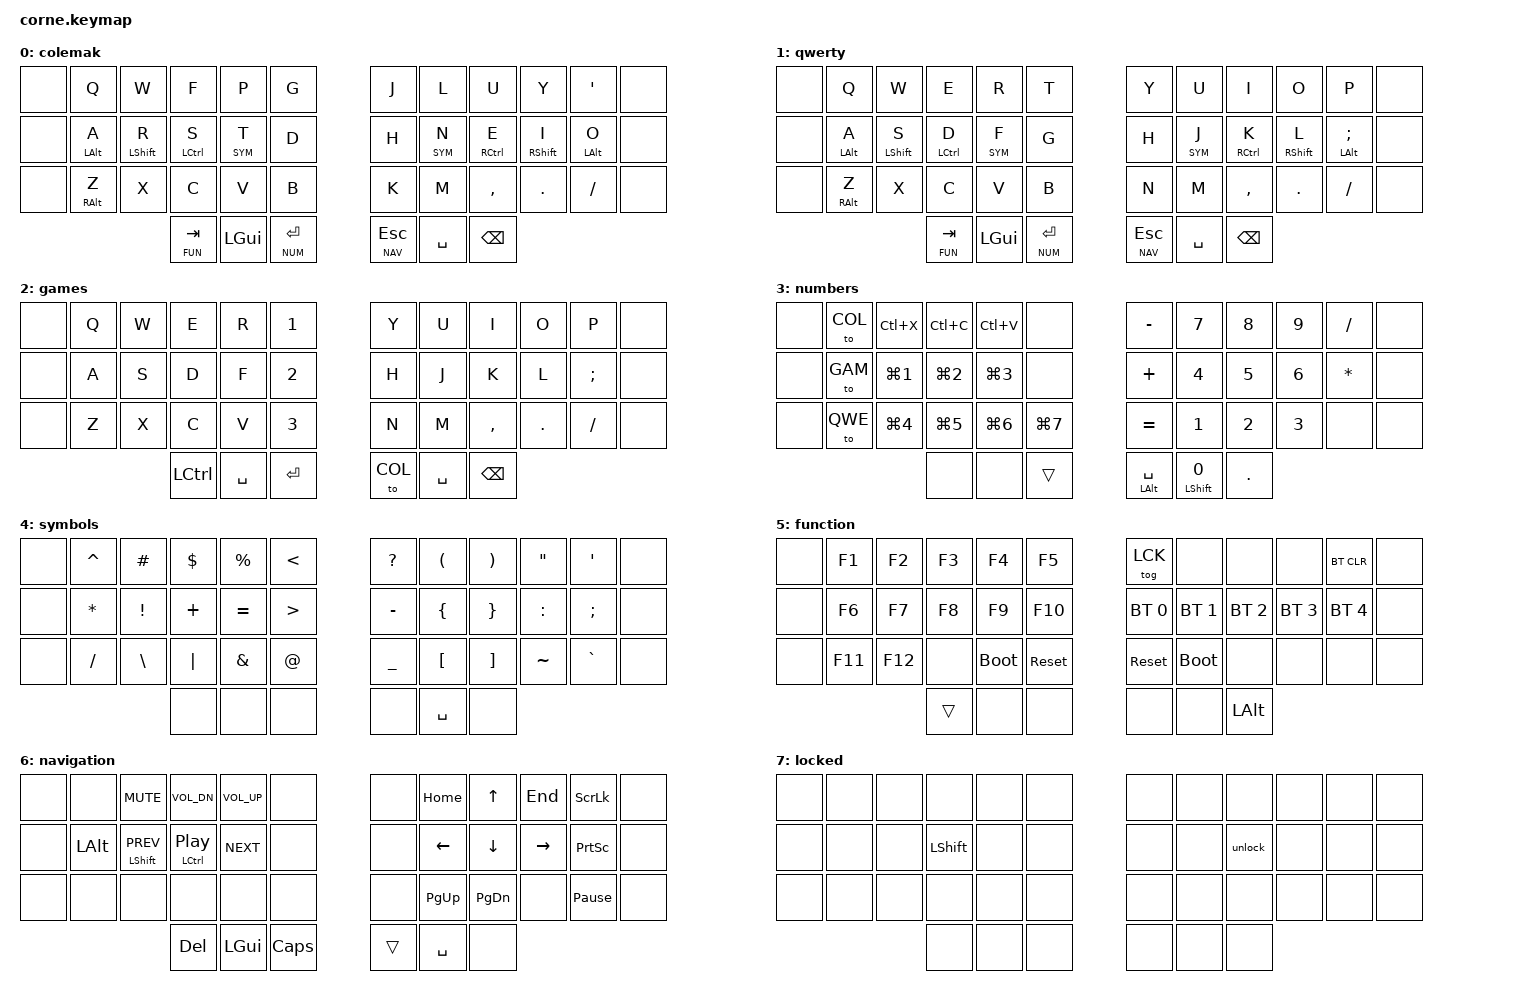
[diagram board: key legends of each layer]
/*
 * Copyright (c) 2020 The ZMK Contributors
 *
 * SPDX-License-Identifier: MIT
 */

#include <behaviors.dtsi>
#include <dt-bindings/zmk/keys.h>
#include <dt-bindings/zmk/bt.h>

#define COL 0
#define QWE 1
#define GAM 2
#define NUM 3
#define SYM 4
#define FUN 5
#define NAV 6
#define LCK 7

&mt {
    tapping-term-ms = <200>;
	flavor = "tap-preferred";
};

&lt {
    tapping-term-ms = <200>;
	flavor = "tap-preferred";
};

/ {
		behaviors {
			unlock: unlock_keyboard {
				compatible = "zmk,behavior-mod-morph";
				label = "UNLOCK_KEYBOARD";
				#binding-cells = <0>;
				bindings = <&none>, <&tog LCK>;
				mods = <(MOD_LSFT)>;
			};
		};

        keymap {
                compatible = "zmk,keymap";

                colemak {
                        bindings = <
   &none  &kp Q      &kp W       &kp F       &kp P       &kp G       &kp J &kp L     &kp U       &kp Y       &kp SQT   &none
   &none  &mt LALT A &mt LSHFT R &mt LCTRL S &lt SYM T   &kp D       &kp H &lt SYM N &mt RCTRL E &mt RSHFT I &mt LALT O &none
   &none  &mt RALT Z &kp X       &kp C       &kp V       &kp B       &kp K &kp M     &kp COMMA   &kp DOT     &kp FSLH   &none
                                 &lt FUN TAB &kp LGUI &lt NUM RET &lt NAV ESC &kp SPACE   &kp BSPC
                        >;
                };

                qwerty {
                        bindings = <
   &none  &kp Q      &kp W       &kp E       &kp R       &kp T       &kp Y &kp U     &kp I       &kp O       &kp P         &none
   &none  &mt LALT A &mt LSHFT S &mt LCTRL D &lt SYM F   &kp G       &kp H &lt SYM J &mt RCTRL K &mt RSHFT L &mt LALT SEMI &none
   &none  &mt RALT Z &kp X       &kp C       &kp V       &kp B       &kp N &kp M     &kp COMMA   &kp DOT     &kp FSLH      &none
                                 &lt FUN TAB &kp LGUI &lt NUM RET &lt NAV ESC &kp SPACE   &kp BSPC
                        >;
                };

                games {
                        bindings = <
   &none &kp Q &kp W &kp E &kp R &kp N1  &kp Y &kp U &kp I     &kp O   &kp P    &none
   &none &kp A &kp S &kp D &kp F &kp N2  &kp H &kp J &kp K     &kp L   &kp SEMI &none
   &none &kp Z &kp X &kp C &kp V &kp N3  &kp N &kp M &kp COMMA &kp DOT &kp FSLH &none
                      &kp LCTRL &kp SPACE &kp RET &to COL &kp SPACE   &kp BSPC
                        >;
                };

                numbers {
                        bindings = <
   &none  &to COL  &kp LC(X)  &kp LC(C)  &kp LC(V)  &none       &kp MINUS &kp N7 &kp N8 &kp N9 &kp FSLH &none
   &none  &to GAM  &kp LG(N1) &kp LG(N2) &kp LG(N3) &none       &kp PLUS  &kp N4 &kp N5 &kp N6 &kp STAR &none
   &none  &to QWE  &kp LG(N4) &kp LG(N5) &kp LG(N6) &kp LG(N7)  &kp EQUAL &kp N1 &kp N2 &kp N3 &none    &none
                          &none &none &trans &mt LALT SPACE &mt LSHIFT N0 &kp DOT
                        >;
                };

                symbols {
                        bindings = <
   &none &kp CARET &kp HASH &kp DLLR &kp PRCNT &kp LT	 &kp QMARK &kp LPAR &kp RPAR &kp DQT   &kp SQT   &none
   &none &kp STAR  &kp EXCL &kp PLUS &kp EQUAL &kp GT    &kp MINUS &kp LBRC &kp RBRC &kp COLON &kp SEMI  &none
   &none &kp FSLH  &kp BSLH &kp PIPE &kp AMPS  &kp AT    &kp UNDER &kp LBKT &kp RBKT &kp TILDE &kp GRAVE &none
                            &none &none &none &none &kp SPACE &none
                        >;
                };

                function {
                        bindings = <
   &none &kp F1  &kp F2  &kp F3 &kp F4      &kp F5   &tog LCK     &none        &none        &none        &bt BT_CLR   &none
   &none &kp F6  &kp F7  &kp F8 &kp F9      &kp F10  &bt BT_SEL 0 &bt BT_SEL 1 &bt BT_SEL 2 &bt BT_SEL 3 &bt BT_SEL 4 &none
   &none &kp F11 &kp F12 &none  &bootloader &sys_reset   &sys_reset       &bootloader  &none        &none        &none        &none
                            &trans &none &none &none &none &kp LALT
                        >;
                };

                navigation {
                        bindings = <
   &none &none    &kp C_MUTE       &kp C_VOL_DN   &kp C_VOL_UP &none  &none    &kp HOME  &kp UP    &kp END    &kp SLCK        &none
   &none &kp LALT &mt LSHFT C_PREV &mt LCTRL C_PP &kp C_NEXT   &none  &none    &kp LEFT  &kp DOWN  &kp RIGHT  &kp PSCRN       &none
   &none &none    &none            &none          &none        &none  &none    &kp PG_UP &kp PG_DN &none      &kp PAUSE_BREAK &none
                            &kp DEL &kp LGUI &kp CAPS &trans &kp SPACE &none
                        >;
                };

                locked {
                        bindings = <
   &none &none &none &none     &none &none  &none &none &none   &none &none &none
   &none &none &none &kp LSHFT &none &none  &none &none &unlock &none &none &none
   &none &none &none &none     &none &none  &none &none &none   &none &none &none
                      &none &none &none &none &none &none
                        >;
                };
        };
};
